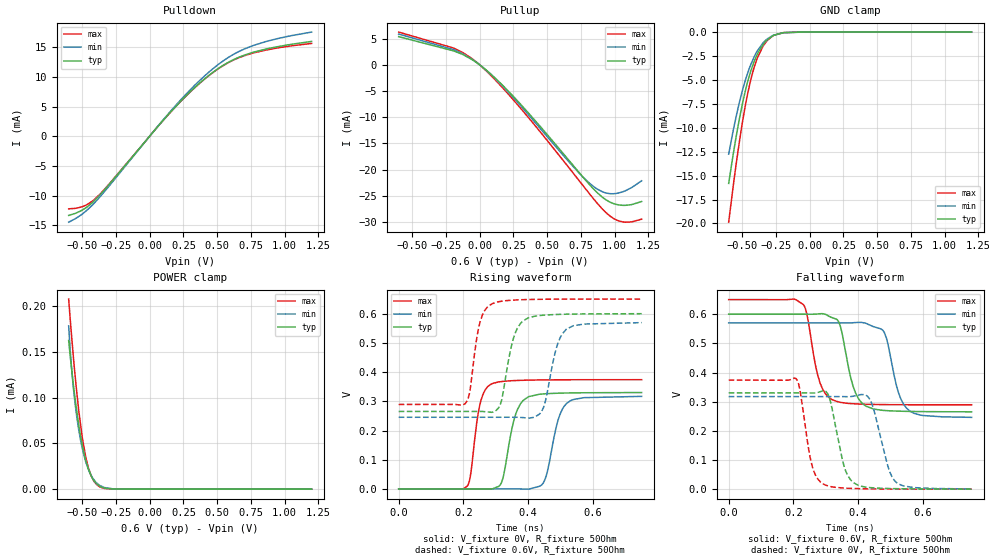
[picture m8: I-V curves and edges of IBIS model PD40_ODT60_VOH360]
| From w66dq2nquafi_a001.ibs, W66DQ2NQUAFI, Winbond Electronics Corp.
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[Model]   PD40_ODT60_VOH360
Model_type   I/O
Polarity   Non-Inverting
Enable   Active-Low
Vinl = 0.11
Vinh = 0.25
Vmeas = 0.18
Vref = 0
Cref = 0pF
Rref = 60
|   typ   min   max
C_comp   1.15pF   1.05pF   1.25pF
[Voltage Range]   0.6   0.57   0.65
[Temperature Range]   25   95   -40
[Pullup Reference]   0.6   0.57   0.65
[Pulldown Reference]   0   0   0
[Power Clamp Reference]   0.6   0.57   0.65
[GND Clamp Reference]   0   0   0
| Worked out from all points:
|   slope of the pulldown table from 0 to 0.09 V, typ, clamps not added: 37.4 ohm
|   slope of the pullup table from 0 to 0.09 V, typ, clamps not added: 46.4 ohm
|   GND clamp passes 1 mA (typ) near -0.33 V on its own axis
|   falling waveform, V_fixture 0.6V, R_fixture 50Ohm: 20-80 % time 40.6ps typ, 41ps min, 37.9ps max; typ from 0.6 V to 0.265 V
|   rising waveform, V_fixture 0V, R_fixture 50Ohm: 20-80 % time 36.6ps typ, 37.6ps min, 28ps max; typ from 0 V to 0.33 V
|   rising waveform, V_fixture 0.6V, R_fixture 50Ohm: 20-80 % time 36.8ps typ, 38.8ps min, 30ps max; typ from 0.265 V to 0.6 V
|   falling waveform, V_fixture 0V, R_fixture 50Ohm: 20-80 % time 38.7ps typ, 43.4ps min, 33.3ps max; typ from 0.33 V to 0 V
[Pulldown]
|   Voltage   I(typ)   I(min)   I(max)
-600mV    -13.36mA   -14.5mA    -12.25mA
-498.6mV  -12.45mA   -13.11mA   -11.88mA
-455.7mV  -11.8mA    -12.29mA   -11.43mA
-409.8mV  -10.89mA   -11.26mA   -10.68mA
-301.2mV  -8.175mA   -8.427mA   -8.092mA
156mV     4.092mA    4.237mA    4.083mA
332.1mV   8.162mA    8.536mA    8.135mA
502.4mV   11.32mA    11.99mA    11.27mA
624.9mV   12.94mA    13.85mA    12.88mA
774.6mV   14.19mA    15.34mA    14.07mA
953.4mV   15.11mA    16.48mA    14.9mA
1.2V      15.98mA    17.55mA    15.64mA
[GND Clamp]
|   Voltage   I(typ)   I(min)   I(max)
-600mV    -15.82mA   -12.76mA   -19.87mA
-545.4mV  -10.99mA   -8.878mA   -13.87mA
-498.6mV  -7.531mA   -6.132mA   -9.451mA
-473.9mV  -5.994mA   -4.914mA   -7.468mA
-433.6mV  -3.96mA    -3.311mA   -4.824mA
-388.1mV  -2.324mA   -1.98mA    -2.726mA
-343.9mV  -1.284mA   -1.107mA   -1.435mA
-315.3mV  -826.4uA   -728.6uA   -892.6uA
-274mV    -393uA     -358.4uA   -414.5uA
-196.3mV  -70.78uA   -77.01uA   -56.56uA
-59.4mV   -1.42uA    -3.097uA   -407.5nA
1.2V      0A         0A         0A
[Pullup]
|   Voltage   I(typ)   I(min)   I(max)
-600mV    5.379mA    5.87mA     6.249mA
-196.8mV  2.679mA    2.923mA    3.227mA
-121.2mV  1.924mA    2.054mA    2.282mA
-2.65mV   49.35uA    52.77uA    59.61uA
122.4mV   -2.715mA   -2.826mA   -3.073mA
294.4mV   -7.285mA   -7.554mA   -8.028mA
743.5mV   -20.78mA   -20.86mA   -22.33mA
870mV     -24.4mA    -23.72mA   -26.41mA
953.4mV   -26.06mA   -24.57mA   -28.63mA
1.028V    -26.76mA   -24.49mA   -29.8mA
1.124V    -26.71mA   -23.49mA   -30.01mA
1.2V      -26.11mA   -22.16mA   -29.49mA
[POWER Clamp]
|   Voltage   I(typ)   I(min)   I(max)
-600mV    162.4uA    178.3uA    207.7uA
-579.8mV  133.5uA    134.9uA    169.9uA
-553.8mV  100.5uA    95.22uA    126.4uA
-526.5mV  71.26uA    65.75uA    87.32uA
-498.6mV  47.66uA    44.38uA    55.85uA
-474.6mV  32uA       30.51uA    35.73uA
-455.7mV  22.7uA     22.47uA    24.17uA
-433mV    14.46uA    15.1uA     14.41uA
-388.5mV  5.32uA     6.265uA    4.481uA
-339.5mV  1.48uA     2.001uA    964.4nA
-265.9mV  111.8nA    307.9nA    16.3nA
1.2V      0A         0A         0A
[Ramp]
R_load = 50
|   typ   min   max
dV/dt_r 1.9798E-01/3.6491E-11   1.9011E-01/3.7613E-11   2.2434E-01/2.7951E-11
dV/dt_f 2.0084E-01/4.0443E-11   1.9425E-01/4.0971E-11   2.1643E-01/3.7855E-11
[Falling Waveform]
V_fixture = 0.6V
V_fixture_min = 0.57V
V_fixture_max = 0.65V
R_fixture = 50Ohm
C_fixture = 0F
|   Time   V(typ)   V(min)   V(max)
0s        600mV      570mV      650mV
230ps     600mV      570mV      633.3mV
282ps     601.6mV    570mV      364.7mV
319ps     588.3mV    570mV      307.3mV
341ps     570.8mV    570mV      298.8mV
384ps     353.3mV    570.7mV    293mV
422ps     285.9mV    569.4mV    291.2mV
480ps     269.9mV    538.4mV    290mV
549ps     266.8mV    277.9mV    289.5mV
750ps     265.3mV    246.3mV    289.3mV
[Rising Waveform]
V_fixture = 0V
V_fixture_min = 0V
V_fixture_max = 0V
R_fixture = 50Ohm
C_fixture = 0F
|   Time   V(typ)   V(min)   V(max)
0s        4.358uV    14.31uV    865.7nV
211ps     2.803uV    14.31uV    8.857mV
254ps     33.03uV    14.5uV     303mV
290ps     591.5uV    13.72uV    361mV
318ps     23.58mV    14.09uV    367.7mV
360ps     251.5mV    57.36uV    371mV
399ps     314.3mV    -552.4uV   372.4mV
448ps     325.4mV    23.54mV    373.2mV
520ps     328.4mV    294mV      373.7mV
750ps     330mV      316.9mV    373.9mV
[Rising Waveform]
V_fixture = 0.6V
V_fixture_min = 0.57V
V_fixture_max = 0.65V
R_fixture = 50Ohm
C_fixture = 0F
|   Time   V(typ)   V(min)   V(max)
0s        265.2mV    245.3mV    289.3mV
205ps     265.1mV    245.3mV    291.7mV
250ps     265.3mV    245.3mV    565.9mV
290ps     262.8mV    245.3mV    634.7mV
313ps     286.8mV    245.3mV    641.7mV
384ps     575.2mV    244.2mV    647.9mV
447ps     594.8mV    278.1mV    649.3mV
487ps     597.2mV    482.8mV    649.7mV
518ps     598.2mV    547mV      649.8mV
750ps     599.9mV    569.3mV    650mV
[Falling Waveform]
|Gnd
V_fixture = 0V
V_fixture_min = 0V
V_fixture_max = 0V
R_fixture = 50Ohm
C_fixture = 0F
|   Time   V(typ)   V(min)   V(max)
0s        330mV      317.5mV    373.9mV
208ps     330mV      317.5mV    379.4mV
258ps     329.7mV    317.5mV    78.33mV
298ps     336.3mV    317.5mV    14.43mV
355ps     84.06mV    317.3mV    3.852mV
385ps     22.64mV    318.7mV    2.347mV
441ps     5.012mV    296mV      965.6uV
492ps     2.322mV    77.02mV    404.1uV
518ps     1.655mV    22.84mV    268.6uV
750ps     79.19uV    718.5uV    -13.88uV
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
